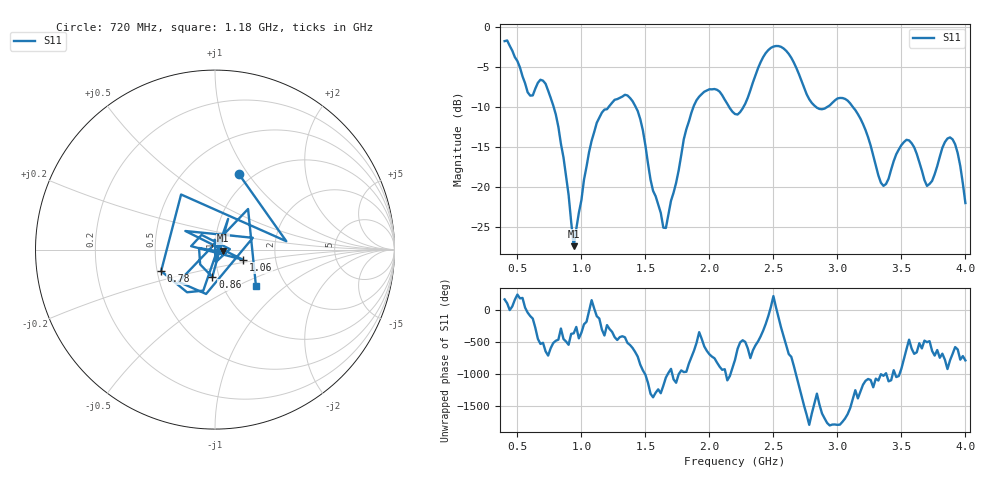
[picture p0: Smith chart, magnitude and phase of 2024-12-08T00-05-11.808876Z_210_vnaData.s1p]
!Created with skrf (http://scikit-rf.org).
# Hz S RI R 50.0
!freq ReS11 ImS11
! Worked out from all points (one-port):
!   181 points, 400 MHz to 4 GHz, reference 50 ohm
!   lowest |S11| = -27.4 dB at 940 MHz (marker M1), VSWR 1.09, Z = 54.4 - j0.586 ohm
!   |S11| at or under -10 dB: 783.4 MHz to 1.213 GHz (429.6 MHz wide, 43 % of centre); 1.424 GHz to 1.875 GHz (450.9 MHz wide, 27.3 % of centre); 3.121 GHz to end of sweep (the widest 3 of 5)
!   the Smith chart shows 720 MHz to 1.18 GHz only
!   S11 on the Smith chart (normalised r, x): 720 MHz: 0.87, +0.91; 780 MHz: 0.53, -0.14; 860 MHz: 0.93, -0.29; 1.06 GHz: 1.36, -0.16; 1.18 GHz: 1.42, -0.63
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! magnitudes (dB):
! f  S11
! 400 MHz  -1.8
! 600 MHz  -8.6
! 720 MHz  -7.1
! 780 MHz  -9.8
! 860 MHz  -16.3
! 940 MHz  -27.4
! 1.06 GHz  -15.6
! 1.18 GHz  -10.3
! 1.3 GHz  -8.9
! 1.44 GHz  -10.5
! 1.64 GHz  -25.0
! 1.76 GHz  -17.9
! 1.82 GHz  -12.8
! 1.94 GHz  -8.4
! 2.06 GHz  -7.9
! 2.2 GHz  -10.9
! 2.46 GHz  -2.9
! 2.66 GHz  -4.5
! 2.84 GHz  -10.1
! 3.1 GHz  -9.5
! 3.22 GHz  -12.9
! 3.36 GHz  -19.8
! 3.56 GHz  -14.2
! 3.7 GHz  -19.8
! 3.84 GHz  -14.4
! 3.9 GHz  -14.0
! 3.94 GHz  -15.8
! 4 GHz  -22.0
